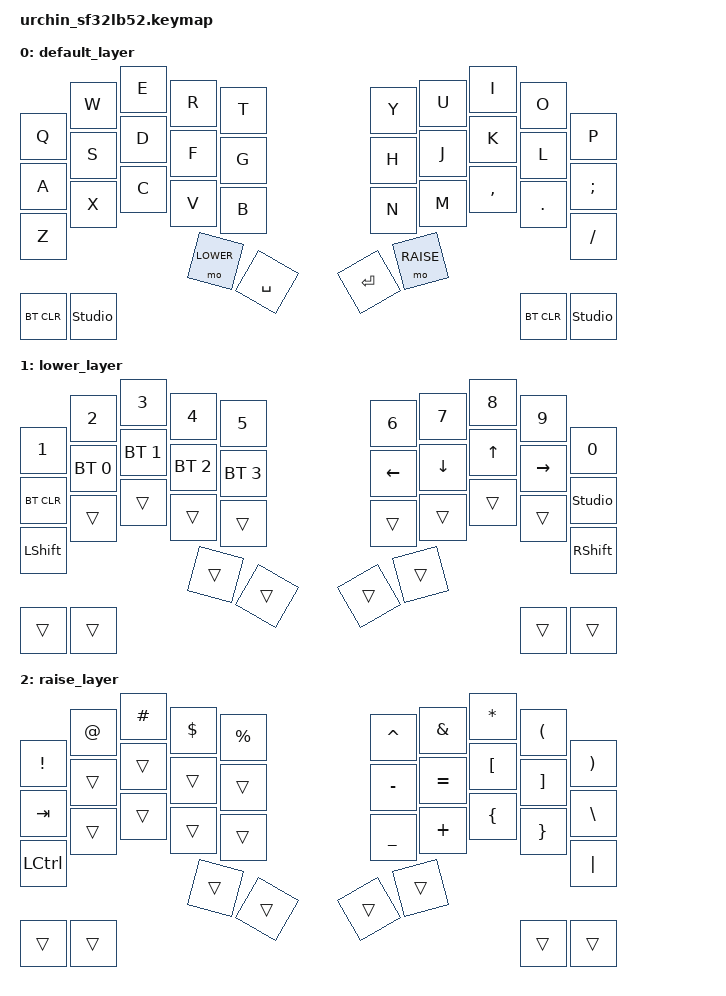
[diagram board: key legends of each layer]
#define ZMK_BEHAVIORS_KEEP_ALL

#include <behaviors.dtsi>
#include <dt-bindings/zmk/keys.h>
#include <dt-bindings/zmk/bt.h>

#define DEFAULT 0
#define LOWER   1
#define RAISE   2

/ {
	keymap {
		compatible = "zmk,keymap";

		default_layer {
			bindings = <
				&kp Q  &kp W  &kp E  &kp R  &kp T        &kp Y  &kp U  &kp I      &kp O    &kp P
				&kp A  &kp S  &kp D  &kp F  &kp G        &kp H  &kp J  &kp K      &kp L    &kp SEMI
				&kp Z  &kp X  &kp C  &kp V  &kp B        &kp N  &kp M  &kp COMMA  &kp DOT  &kp FSLH
				                      &mo LOWER &kp SPACE  &kp RET &mo RAISE
				&bt BT_CLR &studio_unlock                  &bt BT_CLR  &studio_unlock
			>;
		};

		lower_layer {
			bindings = <
				&kp N1     &kp N2    &kp N3    &kp N4     &kp N5       &kp N6    &kp N7    &kp N8     &kp N9    &kp N0
				&bt BT_CLR &bt BT_SEL 0 &bt BT_SEL 1 &bt BT_SEL 2 &bt BT_SEL 3  &kp LEFT  &kp DOWN  &kp UP     &kp RIGHT &studio_unlock
				&kp LSHFT  &trans    &trans    &trans     &trans       &trans    &trans    &trans     &trans    &kp RSHFT
				                               &trans     &trans       &trans    &trans
				&trans     &trans                                      &trans    &trans
			>;
		};

		raise_layer {
			bindings = <
				&kp EXCL  &kp AT    &kp HASH  &kp DLLR  &kp PRCNT    &kp CARET &kp AMPS  &kp ASTRK  &kp LPAR  &kp RPAR
				&kp TAB   &trans    &trans    &trans     &trans       &kp MINUS &kp EQUAL &kp LBKT   &kp RBKT  &kp BSLH
				&kp LCTRL &trans    &trans    &trans     &trans       &kp UNDER &kp PLUS  &kp LBRC   &kp RBRC  &kp PIPE
				                              &trans     &trans       &trans    &trans
				&trans     &trans                                      &trans    &trans
			>;
		};

		extra1 {
			status = "reserved";
		};

		extra2 {
			status = "reserved";
		};
	};
};
